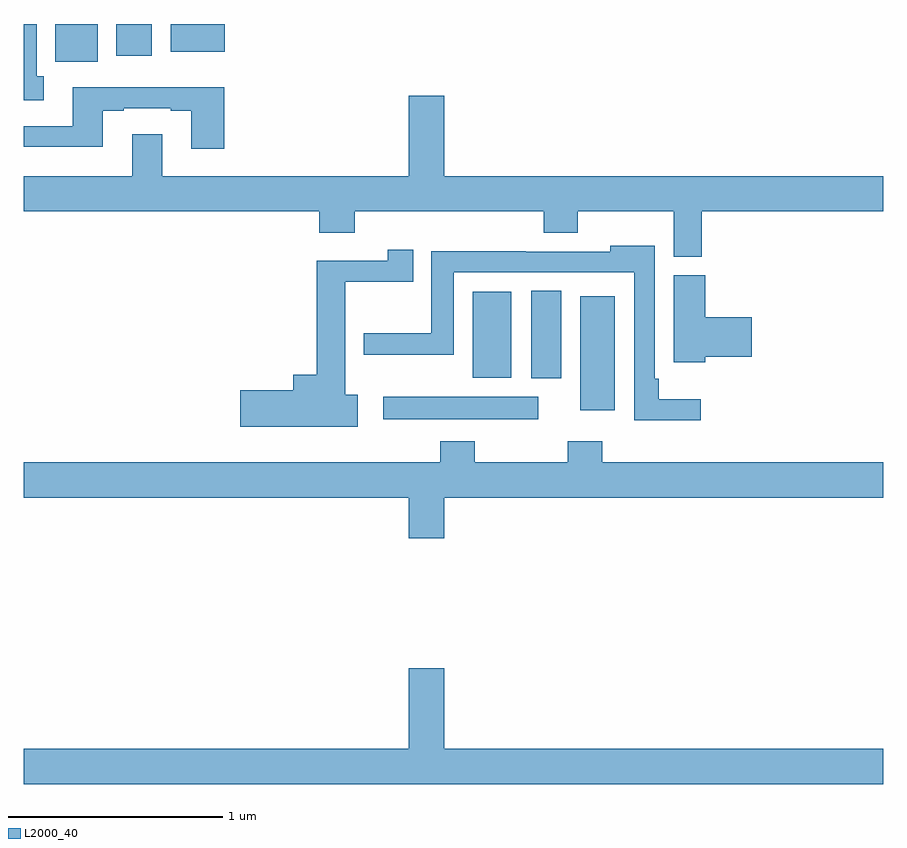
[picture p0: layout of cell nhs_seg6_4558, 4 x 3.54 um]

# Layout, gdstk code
import gdstk
lib = gdstk.Library(unit=1e-6, precision=1e-09)
def R(c, l, rs):  # rectangles x0, y0, x1, y1
    for r in rs: c.add(gdstk.rectangle(r[:2], r[2:], *l))
def P(c, l, *ps):  # polygons
    for p in ps: c.add(gdstk.Polygon(p, *l))
L2000_40 = (2000, 40)

nhs_seg6_4558 = lib.new_cell('nhs_seg6_4558')
R(nhs_seg6_4558, L2000_40, [(380.673,987.662,381.394,987.766), (381.59,987.702,381.751,988.234), (381.362,987.851,381.502,988.259), (381.089,987.854,381.268,988.255), (379.148,989.324,379.345,989.5), (379.43,989.352,379.597,989.5), (379.685,989.372,379.936,989.5)])
P(nhs_seg6_4558, L2000_40, [(379.093,989.258),(379.06,989.258),(379.06,989.5),(379,989.5),(379,989.145),(379.093,989.145)],
  [(379.934,989.206),(379.229,989.206),(379.229,989.025),(379,989.025),(379,988.928),(379.369,988.928),(379.369,989.097),(379.465,989.097),(379.465,989.109),(379.685,989.109),(379.685,989.097),(379.781,989.097),(379.781,988.92),(379.934,988.92)],
  [(379.505,988.987),(379.505,988.792),(379,988.792),(379,988.628),(380.375,988.628),(380.375,988.529),(380.54,988.529),(380.54,988.628),(381.419,988.628),(381.419,988.529),(381.579,988.529),(381.579,988.628),(382.025,988.628),(382.025,988.417),(382.154,988.417),(382.154,988.628),(383,988.628),(383,988.792),(380.956,988.792),(380.956,989.167),(380.792,989.167),(380.792,988.792),(379.645,988.792),(379.645,988.987)],
  [(382.15,987.754),(381.956,987.754),(381.956,987.85),(381.936,987.85),(381.936,988.468),(381.729,988.468),(381.729,988.44),(381.335,988.44),(381.335,988.442),(380.897,988.442),(380.897,988.062),(380.582,988.062),(380.582,987.962),(381.001,987.962),(381.001,988.344),(381.84,988.344),(381.84,987.656),(382.15,987.656)],
  [(380.554,987.776),(380.497,987.776),(380.497,988.3),(380.812,988.3),(380.812,988.45),(380.695,988.45),(380.695,988.399),(380.363,988.399),(380.363,987.868),(380.255,987.868),(380.255,987.797),(380.007,987.797),(380.007,987.626),(380.554,987.626)],
  [(382.172,987.953),(382.387,987.953),(382.387,988.136),(382.172,988.136),(382.172,988.332),(382.025,988.332),(382.025,987.926),(382.172,987.926)],
  [(380.956,987.296),(383,987.296),(383,987.46),(381.692,987.46),(381.692,987.559),(381.532,987.559),(381.532,987.46),(381.099,987.46),(381.099,987.559),(380.939,987.559),(380.939,987.46),(379,987.46),(379,987.296),(380.792,987.296),(380.792,987.108),(380.956,987.108)],
  [(383,986.128),(380.956,986.128),(380.956,986.503),(380.792,986.503),(380.792,986.128),(379,986.128),(379,985.964),(383,985.964)])

lib.write_gds('nhs_seg6_4558.gds')
